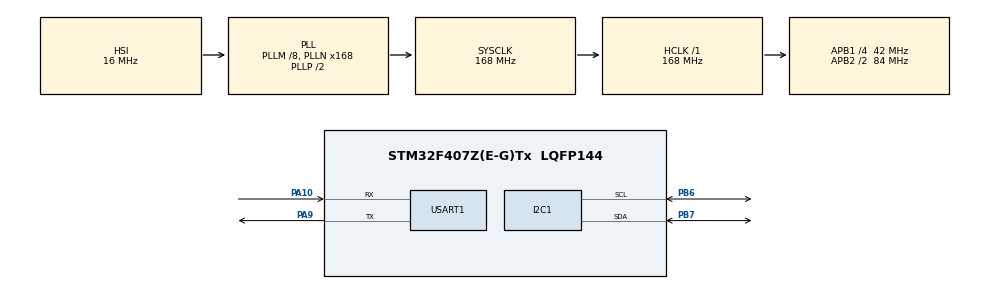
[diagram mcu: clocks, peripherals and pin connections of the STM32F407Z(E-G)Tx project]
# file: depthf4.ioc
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Dma.I2C1_RX.2.Direction=DMA_PERIPH_TO_MEMORY
Dma.I2C1_RX.2.FIFOMode=DMA_FIFOMODE_DISABLE
Dma.I2C1_RX.2.Instance=DMA1_Stream0
Dma.I2C1_RX.2.MemDataAlignment=DMA_MDATAALIGN_BYTE
Dma.I2C1_RX.2.MemInc=DMA_MINC_ENABLE
Dma.I2C1_RX.2.Mode=DMA_NORMAL
Dma.I2C1_RX.2.PeriphDataAlignment=DMA_PDATAALIGN_BYTE
Dma.I2C1_RX.2.PeriphInc=DMA_PINC_DISABLE
Dma.I2C1_RX.2.Priority=DMA_PRIORITY_LOW
Dma.I2C1_TX.3.Direction=DMA_MEMORY_TO_PERIPH
Dma.I2C1_TX.3.FIFOMode=DMA_FIFOMODE_DISABLE
Dma.I2C1_TX.3.Instance=DMA1_Stream6
Dma.I2C1_TX.3.MemDataAlignment=DMA_MDATAALIGN_BYTE
Dma.I2C1_TX.3.MemInc=DMA_MINC_ENABLE
Dma.I2C1_TX.3.Mode=DMA_NORMAL
Dma.I2C1_TX.3.PeriphDataAlignment=DMA_PDATAALIGN_BYTE
Dma.I2C1_TX.3.PeriphInc=DMA_PINC_DISABLE
Dma.I2C1_TX.3.Priority=DMA_PRIORITY_LOW
Dma.Request0=USART1_RX
Dma.Request1=USART1_TX
Dma.Request2=I2C1_RX
Dma.Request3=I2C1_TX
Dma.USART1_RX.0.Direction=DMA_PERIPH_TO_MEMORY
Dma.USART1_RX.0.FIFOMode=DMA_FIFOMODE_DISABLE
Dma.USART1_RX.0.Instance=DMA2_Stream2
Dma.USART1_RX.0.MemDataAlignment=DMA_MDATAALIGN_BYTE
Dma.USART1_RX.0.MemInc=DMA_MINC_ENABLE
Dma.USART1_RX.0.Mode=DMA_NORMAL
Dma.USART1_RX.0.PeriphDataAlignment=DMA_PDATAALIGN_BYTE
Dma.USART1_RX.0.PeriphInc=DMA_PINC_DISABLE
Dma.USART1_RX.0.Priority=DMA_PRIORITY_LOW
Dma.USART1_TX.1.Direction=DMA_MEMORY_TO_PERIPH
Dma.USART1_TX.1.FIFOMode=DMA_FIFOMODE_DISABLE
Dma.USART1_TX.1.Instance=DMA2_Stream7
Dma.USART1_TX.1.MemDataAlignment=DMA_MDATAALIGN_BYTE
Dma.USART1_TX.1.MemInc=DMA_MINC_ENABLE
Dma.USART1_TX.1.Mode=DMA_NORMAL
Dma.USART1_TX.1.PeriphDataAlignment=DMA_PDATAALIGN_BYTE
Dma.USART1_TX.1.PeriphInc=DMA_PINC_DISABLE
Dma.USART1_TX.1.Priority=DMA_PRIORITY_LOW
Mcu.Family=STM32F4
Mcu.Name=STM32F407Z(E-G)Tx
Mcu.Package=LQFP144
NVIC.DMA1_Stream0_IRQn=true\:5\:0\:true\:false\:true\:false\:true\:true
NVIC.DMA1_Stream6_IRQn=true\:5\:0\:true\:false\:true\:false\:true\:true
NVIC.DMA2_Stream2_IRQn=true\:6\:0\:true\:false\:true\:false\:true\:true
NVIC.DMA2_Stream7_IRQn=true\:6\:0\:true\:false\:true\:false\:true\:true
NVIC.I2C1_ER_IRQn=true\:5\:0\:true\:false\:true\:true\:true\:true
NVIC.I2C1_EV_IRQn=true\:5\:0\:true\:false\:true\:true\:true\:true
NVIC.PriorityGroup=NVIC_PRIORITYGROUP_4
NVIC.USART1_IRQn=true\:6\:0\:true\:false\:true\:true\:true\:true
PA10.Mode=Asynchronous
PA10.Signal=USART1_RX
PA13.Mode=Serial_Wire
PA13.Signal=SYS_JTMS-SWDIO
PA14.Mode=Serial_Wire
PA14.Signal=SYS_JTCK-SWCLK
PA9.Mode=Asynchronous
PA9.Signal=USART1_TX
PB6.Mode=I2C
PB6.Signal=I2C1_SCL
PB7.Mode=I2C
PB7.Signal=I2C1_SDA
ProjectManager.HeapSize=0x200
ProjectManager.StackSize=0x400
ProjectManager.TargetToolchain=CMake
RCC.48MHZClocksFreq_Value=84000000
RCC.AHBFreq_Value=168000000
RCC.APB1CLKDivider=RCC_HCLK_DIV4
RCC.APB1Freq_Value=42000000
RCC.APB1TimFreq_Value=84000000
RCC.APB2CLKDivider=RCC_HCLK_DIV2
RCC.APB2Freq_Value=84000000
RCC.APB2TimFreq_Value=168000000
RCC.CortexFreq_Value=168000000
RCC.HCLKFreq_Value=168000000
RCC.HSE_VALUE=25000000
RCC.HSI_VALUE=16000000
RCC.LSE_VALUE=32768
RCC.PLLM=8
RCC.PLLN=168
RCC.SYSCLKFreq_VALUE=168000000
RCC.SYSCLKSource=RCC_SYSCLKSOURCE_PLLCLK
RCC.VCOOutputFreq_Value=336000000
USART1.VirtualMode=VM_ASYNC
board=custom

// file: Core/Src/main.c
/* USER CODE BEGIN Header */
/**
  ******************************************************************************
  * @file           : main.c
  * @brief          : Main program body
  ******************************************************************************
  * @attention
  *
  * Copyright (c) 2026 STMicroelectronics.
  * All rights reserved.
  *
  * This software is licensed under terms that can be found in the LICENSE file
  * in the root directory of this software component.
  * If no LICENSE file comes with this software, it is provided AS-IS.
  *
  ******************************************************************************
  */
/* USER CODE END Header */
#include "main.h"
#include "dma.h"
#include "i2c.h"
#include "usart.h"
#include "gpio.h"

/* USER CODE BEGIN Includes */
#include "ms5837.h"
#include <stdio.h>
#include <string.h>
/* USER CODE END Includes */

/* USER CODE BEGIN PTD */
/* [主流程] 传感器状态类型已移到 ms5837.h，由驱动统一管理。 */
/* USER CODE END PTD */

/* USER CODE BEGIN PD */
/* [配置] 驱动内部完成 10 次基准采集，然后每秒测量一次。 */
#define MS5837_REFERENCE_SAMPLES 10U
#define MS5837_OUTPUT_INTERVAL_MS 1000U
/* [失败处理配置] 出错时每秒尝试输出一次故障信息。 */
#define MS5837_ERROR_REPORT_INTERVAL_MS 1000U
/* USER CODE END PD */

/* USER CODE BEGIN PV */
/* [主流程] 串口 DMA 保持独立缓冲区，发送完成前不能覆盖。 */
static uint8_t uart1_tx_buffer[96];
static volatile uint8_t uart1_tx_busy = 0U;
static volatile uint32_t uart1_tx_error = HAL_UART_ERROR_NONE;
/* [调试记录] 启动请求结果以及最近一次串口发送请求结果。 */
static volatile HAL_StatusTypeDef uart1_tx_status = HAL_OK;
static HAL_StatusTypeDef sensor_start_status = HAL_OK;
static MS5837_Sample sensor_sample;
static MS5837_Error sensor_error;
/* USER CODE END PV */

void SystemClock_Config(void);

/* USER CODE BEGIN 0 */
/* [主流程] 仅由 main() 调用；复制数据后启动串口 DMA。 */
static HAL_StatusTypeDef UART1_SendDMA(const char *data, uint16_t length)
{
    /* [参数检查] 输入和 DMA 缓冲区容量必须合法。 */
    if (data == NULL || length == 0U || length > sizeof(uart1_tx_buffer))
    {
        return HAL_ERROR;
    }
    /* [失败处理] 已记录异步错误时暂停发送，尚未实现自动恢复。 */
    if (uart1_tx_error != HAL_UART_ERROR_NONE)
    {
        return HAL_ERROR;
    }
    /* [忙状态] 上一包未发完，本次不覆盖缓冲区、不入队。 */
    if (uart1_tx_busy != 0U)
    {
        return HAL_BUSY;
    }

    /* [主流程] 先设置忙标志，再启动 DMA，避免完成回调的时序竞态。 */
    memcpy(uart1_tx_buffer, data, length);
    uart1_tx_busy = 1U;
    HAL_StatusTypeDef status = HAL_UART_Transmit_DMA(
        &huart1, uart1_tx_buffer, length);

    /* [失败处理] 启动失败不会产生正常完成回调，立即解除忙状态。 */
    if (status != HAL_OK)
    {
        uart1_tx_busy = 0U;
    }
    return status;
}
/* USER CODE END 0 */

int main(void)
{

  /* MCU Configuration--------------------------------------------------------*/

  /* Reset of all peripherals, Initializes the Flash interface and the Systick. */
  HAL_Init();

  /* Configure the system clock */
  SystemClock_Config();

  /* Initialize all configured peripherals */
  MX_GPIO_Init();
  MX_DMA_Init();
  MX_I2C1_Init();
  MX_USART1_UART_Init();
  /* USER CODE BEGIN 2 */
  /* [主流程] 只提交启动请求，复位/PROM/CRC/基准采集由驱动逐步执行。
   * 基准建立期间，传感器仍需保持在空气/水面参考位置。 */
  sensor_start_status = MS5837_StartDMA(
      &hi2c1, MS5837_REFERENCE_SAMPLES, MS5837_OUTPUT_INTERVAL_MS);
  /* [失败处理计时] 允许第一次循环立即检查启动请求是否失败。 */
  uint32_t last_error_report = HAL_GetTick() - MS5837_ERROR_REPORT_INTERVAL_MS;
  /* USER CODE END 2 */

  /* Infinite loop */
  /* USER CODE BEGIN WHILE */
  while (1)
  {
    /* [主流程] 每轮推进传感器状态；所有等待都由驱动中的时间判断实现。 */
    MS5837_ProcessDMA();

    /* [主流程] 有一轮完整结果时，取出并通过串口 DMA 输出。 */
    if (MS5837_TakeSample(&sensor_sample) != 0U)
    {
      char buffer[96];
      // int length = snprintf(buffer, sizeof(buffer), "Px100=%ld Dx100=%ld\r\n",
      //     (long)sensor_sample.pressure_x100, (long)sensor_sample.depth_cm_x100);
      int length = snprintf(buffer, sizeof(buffer),
    "Px100=%ld Dx100=%ld Tx100=%ld\r\n",
    (long)sensor_sample.pressure_x100,
    (long)sensor_sample.depth_cm_x100,
    (long)sensor_sample.temperature_x100);
      /* [结果检查] 只提交完整、合法的格式化文本。 */
      if (length > 0 && length < (int)sizeof(buffer))
      {
        uart1_tx_status = UART1_SendDMA(buffer, (uint16_t)length);
      }
    }

    /* [失败处理] 与上方正常测量输出分开：每秒检查并报告一次故障。 */
    uint32_t now = HAL_GetTick();
    if ((uint32_t)(now - last_error_report) >= MS5837_ERROR_REPORT_INTERVAL_MS)
    {
      last_error_report = now;
      char buffer[96];
      int length = 0;
      if (sensor_start_status != HAL_OK)
      {
        length = snprintf(buffer, sizeof(buffer), "MS5837 START FAIL status=%u\r\n",
            (unsigned int)sensor_start_status);
      }
      else if (MS5837_GetError(&sensor_error) != 0U)
      {
        length = snprintf(buffer, sizeof(buffer),
            "MS5837 FAIL state=%u cause=%u status=%u err=0x%08lX\r\n",
            (unsigned int)sensor_error.state, (unsigned int)sensor_error.cause,
            (unsigned int)sensor_error.status, (unsigned long)sensor_error.hal_error);
      }
      if (length > 0 && length < (int)sizeof(buffer))
      {
        uart1_tx_status = UART1_SendDMA(buffer, (uint16_t)length);
      }
    }

    /* [主流程] 其他任务放这里；无需等待初始化、转换或采样周期。 */
    /* USER CODE END WHILE */

  }
}

void SystemClock_Config(void)
{
  RCC_OscInitTypeDef RCC_OscInitStruct = {0};
  RCC_ClkInitTypeDef RCC_ClkInitStruct = {0};

  /** Configure the main internal regulator output voltage
  */
  __HAL_RCC_PWR_CLK_ENABLE();
  __HAL_PWR_VOLTAGESCALING_CONFIG(PWR_REGULATOR_VOLTAGE_SCALE1);

  /** Initializes the RCC Oscillators according to the specified parameters
  * in the RCC_OscInitTypeDef structure.
  */
  RCC_OscInitStruct.OscillatorType = RCC_OSCILLATORTYPE_HSI;
  RCC_OscInitStruct.HSIState = RCC_HSI_ON;
  RCC_OscInitStruct.HSICalibrationValue = RCC_HSICALIBRATION_DEFAULT;
  RCC_OscInitStruct.PLL.PLLState = RCC_PLL_ON;
  RCC_OscInitStruct.PLL.PLLSource = RCC_PLLSOURCE_HSI;
  RCC_OscInitStruct.PLL.PLLM = 8;
  RCC_OscInitStruct.PLL.PLLN = 168;
  RCC_OscInitStruct.PLL.PLLP = RCC_PLLP_DIV2;
  RCC_OscInitStruct.PLL.PLLQ = 4;
  if (HAL_RCC_OscConfig(&RCC_OscInitStruct) != HAL_OK)
  {
    Error_Handler();
  }

  /** Initializes the CPU, AHB and APB buses clocks
  */
  RCC_ClkInitStruct.ClockType = RCC_CLOCKTYPE_HCLK|RCC_CLOCKTYPE_SYSCLK
                              |RCC_CLOCKTYPE_PCLK1|RCC_CLOCKTYPE_PCLK2;
  RCC_ClkInitStruct.SYSCLKSource = RCC_SYSCLKSOURCE_PLLCLK;
  RCC_ClkInitStruct.AHBCLKDivider = RCC_SYSCLK_DIV1;
  RCC_ClkInitStruct.APB1CLKDivider = RCC_HCLK_DIV4;
  RCC_ClkInitStruct.APB2CLKDivider = RCC_HCLK_DIV2;

  if (HAL_RCC_ClockConfig(&RCC_ClkInitStruct, FLASH_LATENCY_5) != HAL_OK)
  {
    Error_Handler();
  }
}

/* USER CODE BEGIN 4 */
/* [主流程：中断回调] 转发 IIC 完成通知，标志由传感器驱动管理。 */
void HAL_I2C_MasterTxCpltCallback(I2C_HandleTypeDef *hi2c)
{
    MS5837_OnTxComplete(hi2c);
}
void HAL_I2C_MasterRxCpltCallback(I2C_HandleTypeDef *hi2c)
{
    MS5837_OnRxComplete(hi2c);
}

/* [失败处理：中断回调] 仅转发错误通知，不在中断中恢复或等待。 */
void HAL_I2C_ErrorCallback(I2C_HandleTypeDef *hi2c)
{
    MS5837_OnI2CError(hi2c);
}

/* [主流程：中断回调] 串口整包发送完成，允许缓冲区复用。 */
void HAL_UART_TxCpltCallback(UART_HandleTypeDef *huart)
{
    if (huart == &huart1)
    {
        uart1_tx_busy = 0U;
    }
}

/* [失败处理：中断回调] 保存串口错误，沿用暂停后续发送的策略。 */
void HAL_UART_ErrorCallback(UART_HandleTypeDef *huart)
{
    if (huart == &huart1)
    {
        uart1_tx_error = HAL_UART_GetError(huart);
    }
}
/* USER CODE END 4 */

void Error_Handler(void)
{
  __disable_irq();
  while (1)
  {
  }
}
